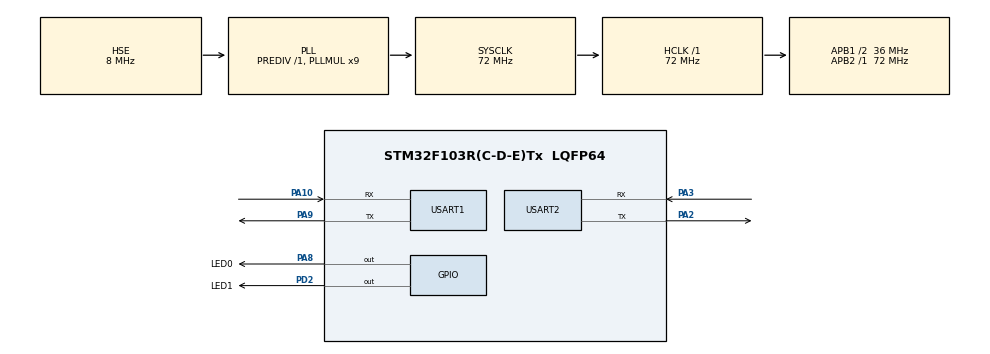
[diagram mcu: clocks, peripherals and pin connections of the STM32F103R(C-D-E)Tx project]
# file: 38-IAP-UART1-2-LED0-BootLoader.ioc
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Dma.Request0=USART2_RX
Dma.USART2_RX.0.Direction=DMA_PERIPH_TO_MEMORY
Dma.USART2_RX.0.Instance=DMA1_Channel6
Dma.USART2_RX.0.MemDataAlignment=DMA_MDATAALIGN_BYTE
Dma.USART2_RX.0.MemInc=DMA_MINC_ENABLE
Dma.USART2_RX.0.Mode=DMA_NORMAL
Dma.USART2_RX.0.PeriphDataAlignment=DMA_PDATAALIGN_BYTE
Dma.USART2_RX.0.PeriphInc=DMA_PINC_DISABLE
Dma.USART2_RX.0.Priority=DMA_PRIORITY_LOW
Mcu.Family=STM32F1
Mcu.Name=STM32F103R(C-D-E)Tx
Mcu.Package=LQFP64
NVIC.DMA1_Channel6_IRQn=true\:0\:0\:false\:false\:true\:false\:true\:true
NVIC.PriorityGroup=NVIC_PRIORITYGROUP_4
NVIC.USART2_IRQn=true\:2\:0\:true\:false\:true\:true\:true\:true
PA10.Mode=Asynchronous
PA10.Signal=USART1_RX
PA13.Mode=Serial_Wire
PA13.Signal=SYS_JTMS-SWDIO
PA14.Mode=Serial_Wire
PA14.Signal=SYS_JTCK-SWCLK
PA2.Mode=Asynchronous
PA2.Signal=USART2_TX
PA3.Mode=Asynchronous
PA3.Signal=USART2_RX
PA8.GPIO_Label=LED0
PA8.GPIO_PuPd=GPIO_PULLUP
PA8.GPIO_Speed=GPIO_SPEED_FREQ_HIGH
PA8.PinState=GPIO_PIN_SET
PA8.Signal=GPIO_Output
PA9.Mode=Asynchronous
PA9.Signal=USART1_TX
PD0-OSC_IN.Mode=HSE-External-Oscillator
PD0-OSC_IN.Signal=RCC_OSC_IN
PD1-OSC_OUT.Mode=HSE-External-Oscillator
PD1-OSC_OUT.Signal=RCC_OSC_OUT
PD2.GPIO_Label=LED1
PD2.GPIO_PuPd=GPIO_PULLUP
PD2.GPIO_Speed=GPIO_SPEED_FREQ_HIGH
PD2.PinState=GPIO_PIN_SET
PD2.Signal=GPIO_Output
ProjectManager.HeapSize=0x200
ProjectManager.StackSize=0x400
ProjectManager.TargetToolchain=MDK-ARM V5.32
RCC.AHBFreq_Value=72000000
RCC.APB1CLKDivider=RCC_HCLK_DIV2
RCC.APB1Freq_Value=36000000
RCC.APB1TimFreq_Value=72000000
RCC.APB2Freq_Value=72000000
RCC.APB2TimFreq_Value=72000000
RCC.HCLKFreq_Value=72000000
RCC.PLLMUL=RCC_PLL_MUL9
RCC.PLLSourceVirtual=RCC_PLLSOURCE_HSE
RCC.SYSCLKFreq_VALUE=72000000
RCC.SYSCLKSource=RCC_SYSCLKSOURCE_PLLCLK
RCC.USBFreq_Value=72000000
USART1.VirtualMode=VM_ASYNC
USART2.VirtualMode=VM_ASYNC
board=custom

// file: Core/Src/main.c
/* USER CODE BEGIN Header */
/**
  ******************************************************************************
  * @file           : main.c
  * @brief          : Main program body
  ******************************************************************************
  * @attention
  *
  * Copyright (c) 2023 STMicroelectronics.
  * All rights reserved.
  *
  * This software is licensed under terms that can be found in the LICENSE file
  * in the root directory of this software component.
  * If no LICENSE file comes with this software, it is provided AS-IS.
  *
  ******************************************************************************
  */
/* USER CODE END Header */
#include "main.h"
#include "dma.h"
#include "usart.h"
#include "gpio.h"

/* USER CODE BEGIN Includes */
#include "stdio.h"
#include "hello_ota_boot.h"
/* USER CODE END Includes */

void SystemClock_Config(void);

/* USER CODE BEGIN 0 */
uint8_t		Rx_Flag = 0;
uint16_t	Rx_Len = 0;
uint8_t		Rx_Buf[Rx_Max] = {0};
int fputc(int ch, FILE *f)
{
    HAL_UART_Transmit(&huart1, (uint8_t *)&ch,1, 0xFFFF);
    return ch;
}

/* USER CODE END 0 */

int main(void)
{

  /* MCU Configuration--------------------------------------------------------*/

  /* Reset of all peripherals, Initializes the Flash interface and the Systick. */
  HAL_Init();

  /* Configure the system clock */
  SystemClock_Config();

  /* Initialize all configured peripherals */
  MX_GPIO_Init();
  MX_DMA_Init();
  MX_USART1_UART_Init();
  MX_USART2_UART_Init();
  /* USER CODE BEGIN 2 */
	printf("BootLoader\r\n");
	HAL_UART_Receive_DMA(&huart2, Rx_Buf, Rx_Max);//开启DMA接收数据
	__HAL_UART_ENABLE_IT(&huart2, UART_IT_IDLE);//开启中断
  /* USER CODE END 2 */

  /* Infinite loop */
  /* USER CODE BEGIN WHILE */
  while (1)
  {
		HAL_GPIO_WritePin(LED0_GPIO_Port, LED0_Pin, GPIO_PIN_RESET);
		printf("AAAAAA\r\n");
		HAL_Delay(500);
		Start_BootLoader();
    /* USER CODE END WHILE */

  }
}

void SystemClock_Config(void)
{
  RCC_OscInitTypeDef RCC_OscInitStruct = {0};
  RCC_ClkInitTypeDef RCC_ClkInitStruct = {0};

  /** Initializes the RCC Oscillators according to the specified parameters
  * in the RCC_OscInitTypeDef structure.
  */
  RCC_OscInitStruct.OscillatorType = RCC_OSCILLATORTYPE_HSE;
  RCC_OscInitStruct.HSEState = RCC_HSE_ON;
  RCC_OscInitStruct.HSEPredivValue = RCC_HSE_PREDIV_DIV1;
  RCC_OscInitStruct.HSIState = RCC_HSI_ON;
  RCC_OscInitStruct.PLL.PLLState = RCC_PLL_ON;
  RCC_OscInitStruct.PLL.PLLSource = RCC_PLLSOURCE_HSE;
  RCC_OscInitStruct.PLL.PLLMUL = RCC_PLL_MUL9;
  if (HAL_RCC_OscConfig(&RCC_OscInitStruct) != HAL_OK)
  {
    Error_Handler();
  }

  /** Initializes the CPU, AHB and APB buses clocks
  */
  RCC_ClkInitStruct.ClockType = RCC_CLOCKTYPE_HCLK|RCC_CLOCKTYPE_SYSCLK
                              |RCC_CLOCKTYPE_PCLK1|RCC_CLOCKTYPE_PCLK2;
  RCC_ClkInitStruct.SYSCLKSource = RCC_SYSCLKSOURCE_PLLCLK;
  RCC_ClkInitStruct.AHBCLKDivider = RCC_SYSCLK_DIV1;
  RCC_ClkInitStruct.APB1CLKDivider = RCC_HCLK_DIV2;
  RCC_ClkInitStruct.APB2CLKDivider = RCC_HCLK_DIV1;

  if (HAL_RCC_ClockConfig(&RCC_ClkInitStruct, FLASH_LATENCY_2) != HAL_OK)
  {
    Error_Handler();
  }
}

void Error_Handler(void)
{
  __disable_irq();
  while (1)
  {
  }
}
